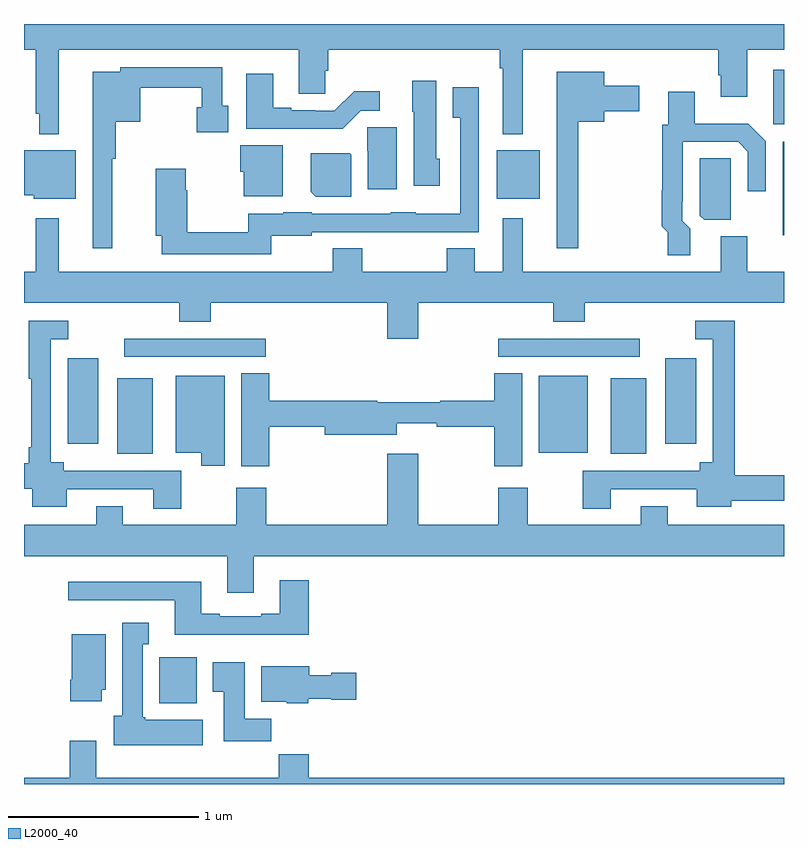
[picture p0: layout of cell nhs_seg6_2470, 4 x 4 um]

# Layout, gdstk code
import gdstk
lib = gdstk.Library(unit=1e-6, precision=1e-09)
def R(c, l, rs):  # rectangles x0, y0, x1, y1
    for r in rs: c.add(gdstk.rectangle(r[:2], r[2:], *l))
def P(c, l, *ps):  # polygons
    for p in ps: c.add(gdstk.Polygon(p, *l))
L2000_40 = (2000, 40)

nhs_seg6_2470 = lib.new_cell('nhs_seg6_2470')
R(nhs_seg6_2470, L2000_40, [(259.712,915.926,259.909,916.168), (259.49,917.237,259.678,917.635), (262.088,917.237,262.276,917.635), (261.71,917.243,261.967,917.65), (259.229,917.292,259.39,917.74), (262.376,917.292,262.537,917.74), (259.527,917.748,260.272,917.844), (261.495,917.748,262.24,917.844), (262.994,918.387,263,918.88), (261.488,918.581,261.715,918.835), (262.943,918.972,263,919.258)])
P(nhs_seg6_2470, L2000_40, [(259.183,919.364),(260.447,919.364),(260.447,919.132),(260.586,919.132),(260.586,919.254),(260.6,919.254),(260.6,919.364),(261.504,919.364),(261.504,919.268),(261.521,919.268),(261.521,918.92),(261.625,918.92),(261.625,919.364),(262.655,919.364),(262.655,919.231),(262.667,919.231),(262.667,919.116),(262.807,919.116),(262.807,919.364),(263,919.364),(263,919.5),(259,919.5),(259,919.364),(259.062,919.364),(259.062,919.027),(259.079,919.027),(259.079,918.92),(259.183,918.92)],
  [(259.465,918.79),(259.483,918.79),(259.483,918.986),(259.612,918.986),(259.612,919.164),(259.935,919.164),(259.935,919.063),(259.909,919.063),(259.909,918.929),(260.074,918.929),(260.074,919.071),(260.043,919.071),(260.043,919.272),(259.506,919.272),(259.506,919.249),(259.361,919.249),(259.361,918.321),(259.465,918.321)],
  [(261.917,918.986),(262.054,918.986),(262.054,919.04),(262.237,919.04),(262.237,919.174),(262.054,919.174),(262.054,919.249),(261.803,919.249),(261.803,918.321),(261.917,918.321)],
  [(260.772,919.044),(260.872,919.044),(260.872,919.147),(260.737,919.147),(260.634,919.044),(260.534,919.044),(260.534,919.047),(260.407,919.047),(260.407,919.06),(260.311,919.06),(260.311,919.237),(260.171,919.237),(260.171,918.95),(260.677,918.95)],
  [(261.187,918.792),(261.169,918.792),(261.169,919.201),(261.044,919.201),(261.044,919.038),(261.05,919.038),(261.05,918.648),(261.187,918.648)],
  [(260.302,918.386),(260.514,918.386),(260.514,918.405),(260.931,918.405),(260.931,918.404),(261.163,918.404),(261.163,918.405),(261.393,918.405),(261.393,919.168),(261.257,919.168),(261.257,919.007),(261.297,919.007),(261.297,918.502),(261.063,918.502),(261.063,918.508),(260.931,918.508),(260.931,918.501),(260.514,918.501),(260.514,918.508),(260.364,918.508),(260.364,918.502),(260.181,918.502),(260.181,918.404),(259.86,918.404),(259.86,918.626),(259.852,918.626),(259.852,918.739),(259.694,918.739),(259.694,918.386),(259.724,918.386),(259.724,918.288),(260.302,918.288)],
  [(262.507,918.422),(262.464,918.465),(262.464,918.565),(262.467,918.565),(262.467,918.879),(262.758,918.879),(262.809,918.828),(262.809,918.621),(262.905,918.621),(262.905,918.882),(262.811,918.976),(262.531,918.976),(262.531,919.144),(262.391,919.144),(262.391,918.969),(262.359,918.969),(262.359,918.626),(262.356,918.626),(262.356,918.436),(262.387,918.405),(262.387,918.282),(262.507,918.282)],
  [(260.962,918.957),(260.806,918.957),(260.806,918.834),(260.81,918.834),(260.81,918.63),(260.962,918.63)],
  [(260.362,918.862),(260.138,918.862),(260.138,918.723),(260.156,918.723),(260.156,918.593),(260.362,918.593)],
  [(259.273,918.835),(259,918.835),(259,918.599),(259.05,918.599),(259.05,918.581),(259.273,918.581)],
  [(260.722,918.812),(260.714,918.82),(260.51,918.82),(260.51,918.616),(260.536,918.59),(260.722,918.59)],
  [(262.72,918.683),(262.719,918.683),(262.719,918.794),(262.557,918.794),(262.557,918.492),(262.581,918.469),(262.72,918.469)],
  [(261.076,918.032),(261.785,918.032),(261.785,917.933),(261.95,917.933),(261.95,918.032),(263,918.032),(263,918.196),(262.807,918.196),(262.807,918.384),(262.667,918.384),(262.667,918.196),(261.625,918.196),(261.625,918.478),(261.521,918.478),(261.521,918.196),(261.373,918.196),(261.373,918.32),(261.226,918.32),(261.226,918.196),(260.781,918.196),(260.781,918.32),(260.626,918.32),(260.626,918.196),(259.183,918.196),(259.183,918.478),(259.062,918.478),(259.062,918.196),(259,918.196),(259,918.032),(259.817,918.032),(259.817,917.933),(259.982,917.933),(259.982,918.032),(260.912,918.032),(260.912,917.844),(261.076,917.844)],
  [(262.087,917.052),(262.541,917.052),(262.541,916.958),(262.723,916.958),(262.723,916.991),(263,916.991),(263,917.126),(262.742,917.126),(262.742,917.937),(262.533,917.937),(262.533,917.841),(262.626,917.841),(262.626,917.194),(262.556,917.194),(262.556,917.148),(261.94,917.148),(261.94,916.95),(262.087,916.95)],
  [(259.827,917.148),(259.21,917.148),(259.21,917.194),(259.14,917.194),(259.14,917.841),(259.234,917.841),(259.234,917.937),(259.024,917.937),(259.024,917.634),(259.039,917.634),(259.039,917.272),(259.024,917.272),(259.024,917.189),(259,917.189),(259,917.054),(259.043,917.054),(259.043,916.958),(259.225,916.958),(259.225,917.052),(259.679,917.052),(259.679,916.95),(259.827,916.95)],
  [(260.291,917.38),(260.582,917.38),(260.582,917.338),(260.962,917.338),(260.962,917.399),(261.172,917.399),(261.172,917.38),(261.476,917.38),(261.476,917.172),(261.622,917.172),(261.622,917.663),(261.476,917.663),(261.476,917.516),(261.192,917.516),(261.192,917.509),(260.858,917.509),(260.858,917.516),(260.291,917.516),(260.291,917.663),(260.144,917.663),(260.144,917.172),(260.291,917.172)],
  [(260.056,917.65),(259.799,917.65),(259.799,917.243),(259.934,917.243),(259.934,917.175),(260.056,917.175)],
  [(260.209,916.7),(263,916.7),(263,916.864),(262.387,916.864),(262.387,916.963),(262.247,916.963),(262.247,916.864),(261.651,916.864),(261.651,917.059),(261.496,917.059),(261.496,916.864),(261.076,916.864),(261.076,917.239),(260.912,917.239),(260.912,916.864),(260.276,916.864),(260.276,917.059),(260.116,917.059),(260.116,916.864),(259.519,916.864),(259.519,916.963),(259.379,916.963),(259.379,916.864),(259,916.864),(259,916.7),(260.069,916.7),(260.069,916.506),(260.209,916.506)],
  [(260.498,916.573),(260.345,916.573),(260.345,916.396),(260.249,916.396),(260.249,916.383),(260.029,916.383),(260.029,916.396),(259.933,916.396),(259.933,916.564),(259.233,916.564),(259.233,916.467),(259.793,916.467),(259.793,916.286),(260.498,916.286)],
  [(259.942,915.838),(259.638,915.838),(259.638,915.852),(259.624,915.852),(259.624,916.235),(259.657,916.235),(259.657,916.348),(259.517,916.348),(259.517,915.858),(259.472,915.858),(259.472,915.704),(259.942,915.704)],
  [(259.408,915.996),(259.429,915.996),(259.429,916.288),(259.25,916.288),(259.25,916.048),(259.243,916.048),(259.243,915.936),(259.408,915.936)],
  [(260.3,915.844),(260.161,915.844),(260.161,916.141),(259.994,916.141),(259.994,915.985),(260.051,915.985),(260.051,915.726),(260.3,915.726)],
  [(260.496,915.95),(260.616,915.95),(260.616,915.943),(260.749,915.943),(260.749,916.085),(260.616,916.085),(260.616,916.072),(260.5,916.072),(260.5,916.12),(260.249,916.12),(260.249,915.932),(260.382,915.932),(260.382,915.926),(260.496,915.926)],
  [(263,915.532),(260.498,915.532),(260.498,915.656),(260.341,915.656),(260.341,915.532),(259.381,915.532),(259.381,915.727),(259.241,915.727),(259.241,915.532),(259,915.532),(259,915.5),(263,915.5)])

lib.write_gds('nhs_seg6_2470.gds')
